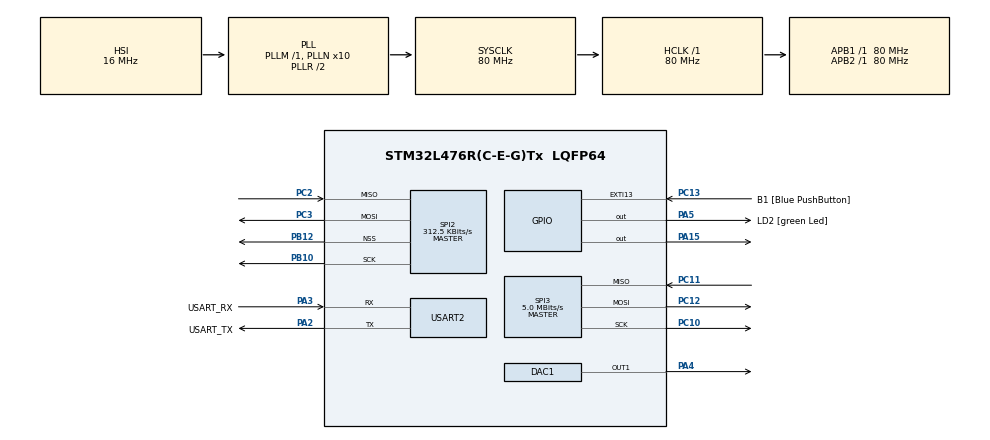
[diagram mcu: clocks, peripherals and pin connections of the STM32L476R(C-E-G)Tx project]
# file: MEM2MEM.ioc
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DAC1.DAC_Trigger-DAC_OUT1=DAC_TRIGGER_T2_TRGO
Dma.DAC_CH1.0.Direction=DMA_MEMORY_TO_PERIPH
Dma.DAC_CH1.0.Instance=DMA1_Channel3
Dma.DAC_CH1.0.MemDataAlignment=DMA_MDATAALIGN_HALFWORD
Dma.DAC_CH1.0.MemInc=DMA_MINC_ENABLE
Dma.DAC_CH1.0.Mode=DMA_NORMAL
Dma.DAC_CH1.0.PeriphDataAlignment=DMA_PDATAALIGN_HALFWORD
Dma.DAC_CH1.0.PeriphInc=DMA_PINC_DISABLE
Dma.DAC_CH1.0.Priority=DMA_PRIORITY_HIGH
Dma.MEMTOMEM.3.Direction=DMA_MEMORY_TO_MEMORY
Dma.MEMTOMEM.3.Instance=DMA1_Channel1
Dma.MEMTOMEM.3.MemDataAlignment=DMA_MDATAALIGN_HALFWORD
Dma.MEMTOMEM.3.MemInc=DMA_MINC_ENABLE
Dma.MEMTOMEM.3.Mode=DMA_NORMAL
Dma.MEMTOMEM.3.PeriphDataAlignment=DMA_PDATAALIGN_HALFWORD
Dma.MEMTOMEM.3.PeriphInc=DMA_PINC_ENABLE
Dma.MEMTOMEM.3.Priority=DMA_PRIORITY_LOW
Dma.Request0=DAC_CH1
Dma.Request1=SPI2_TX
Dma.Request2=SPI3_RX
Dma.Request3=MEMTOMEM
Dma.SPI2_TX.1.Direction=DMA_MEMORY_TO_PERIPH
Dma.SPI2_TX.1.Instance=DMA1_Channel5
Dma.SPI2_TX.1.MemDataAlignment=DMA_MDATAALIGN_HALFWORD
Dma.SPI2_TX.1.MemInc=DMA_MINC_ENABLE
Dma.SPI2_TX.1.Mode=DMA_NORMAL
Dma.SPI2_TX.1.PeriphDataAlignment=DMA_PDATAALIGN_HALFWORD
Dma.SPI2_TX.1.PeriphInc=DMA_PINC_DISABLE
Dma.SPI2_TX.1.Priority=DMA_PRIORITY_LOW
Dma.SPI3_RX.2.Direction=DMA_PERIPH_TO_MEMORY
Dma.SPI3_RX.2.Instance=DMA2_Channel1
Dma.SPI3_RX.2.MemDataAlignment=DMA_MDATAALIGN_BYTE
Dma.SPI3_RX.2.MemInc=DMA_MINC_ENABLE
Dma.SPI3_RX.2.Mode=DMA_CIRCULAR
Dma.SPI3_RX.2.PeriphDataAlignment=DMA_PDATAALIGN_BYTE
Dma.SPI3_RX.2.PeriphInc=DMA_PINC_DISABLE
Dma.SPI3_RX.2.Priority=DMA_PRIORITY_HIGH
Mcu.Family=STM32L4
Mcu.Name=STM32L476R(C-E-G)Tx
Mcu.Package=LQFP64
NVIC.DMA1_Channel1_IRQn=true\:0\:0\:false\:false\:true\:true\:true\:true
NVIC.DMA1_Channel3_IRQn=true\:0\:0\:false\:false\:true\:false\:true\:true
NVIC.DMA1_Channel5_IRQn=true\:0\:0\:false\:false\:true\:false\:true\:true
NVIC.DMA2_Channel1_IRQn=true\:0\:0\:false\:false\:true\:false\:true\:true
NVIC.PriorityGroup=NVIC_PRIORITYGROUP_4
PA13\ (JTMS-SWDIO).GPIO_Label=TMS
PA13\ (JTMS-SWDIO).Mode=Serial_Wire
PA13\ (JTMS-SWDIO).Signal=SYS_JTMS-SWDIO
PA14\ (JTCK-SWCLK).GPIO_Label=TCK
PA14\ (JTCK-SWCLK).Mode=Serial_Wire
PA14\ (JTCK-SWCLK).Signal=SYS_JTCK-SWCLK
PA15\ (JTDI).Signal=GPIO_Output
PA2.GPIO_Label=USART_TX
PA2.GPIO_Mode=GPIO_MODE_AF_PP
PA2.GPIO_PuPd=GPIO_NOPULL
PA2.GPIO_Speed=GPIO_SPEED_FREQ_VERY_HIGH
PA2.Mode=Asynchronous
PA2.Signal=USART2_TX
PA3.GPIO_Label=USART_RX
PA3.GPIO_Mode=GPIO_MODE_AF_PP
PA3.GPIO_PuPd=GPIO_NOPULL
PA3.GPIO_Speed=GPIO_SPEED_FREQ_VERY_HIGH
PA3.Mode=Asynchronous
PA3.Signal=USART2_RX
PA4.Signal=COMP_DAC11_group
PA5.GPIO_Label=LD2 [green Led]
PA5.GPIO_ModeDefaultOutputPP=GPIO_MODE_OUTPUT_PP
PA5.GPIO_PuPd=GPIO_NOPULL
PA5.GPIO_Speed=GPIO_SPEED_FREQ_LOW
PA5.Signal=GPIO_Output
PB10.Mode=Full_Duplex_Master
PB10.Signal=SPI2_SCK
PB12.Mode=NSS_Signal_Hard_Output
PB12.Signal=SPI2_NSS
PB3\ (JTDO-TRACESWO).GPIO_Label=SWO
PB3\ (JTDO-TRACESWO).Signal=SYS_JTDO-SWO
PC10.Mode=Full_Duplex_Master
PC10.Signal=SPI3_SCK
PC11.Mode=Full_Duplex_Master
PC11.Signal=SPI3_MISO
PC12.Mode=Full_Duplex_Master
PC12.Signal=SPI3_MOSI
PC13.GPIO_Label=B1 [Blue PushButton]
PC13.GPIO_ModeDefaultEXTI=GPIO_MODE_IT_FALLING
PC13.GPIO_PuPd=GPIO_NOPULL
PC13.Signal=GPXTI13
PC14-OSC32_IN\ (PC14).Mode=LSE-External-Oscillator
PC14-OSC32_IN\ (PC14).Signal=RCC_OSC32_IN
PC15-OSC32_OUT\ (PC15).Mode=LSE-External-Oscillator
PC15-OSC32_OUT\ (PC15).Signal=RCC_OSC32_OUT
PC2.Mode=Full_Duplex_Master
PC2.Signal=SPI2_MISO
PC3.Mode=Full_Duplex_Master
PC3.Signal=SPI2_MOSI
PH0-OSC_IN\ (PH0).Signal=RCC_OSC_IN
PH1-OSC_OUT\ (PH1).Signal=RCC_OSC_OUT
ProjectManager.HeapSize=0x200
ProjectManager.StackSize=0x400
ProjectManager.TargetToolchain=STM32CubeIDE
RCC.ADCFreq_Value=64000000
RCC.AHBFreq_Value=80000000
RCC.APB1Freq_Value=80000000
RCC.APB1TimFreq_Value=80000000
RCC.APB2Freq_Value=80000000
RCC.APB2TimFreq_Value=80000000
RCC.CortexFreq_Value=80000000
RCC.HCLKFreq_Value=80000000
RCC.HSE_VALUE=8000000
RCC.HSI_VALUE=16000000
RCC.MSI_VALUE=4000000
RCC.PLLN=10
RCC.PLLSourceVirtual=RCC_PLLSOURCE_HSI
RCC.PREFETCH_ENABLE=1
RCC.SYSCLKFreq_VALUE=80000000
RCC.SYSCLKSource=RCC_SYSCLKSOURCE_PLLCLK
RCC.USBFreq_Value=64000000
RCC.VCOOutputFreq_Value=160000000
SH.COMP_DAC11_group.0=DAC1_OUT1,DAC_OUT1
SPI2.BaudRatePrescaler=SPI_BAUDRATEPRESCALER_256
SPI2.CalculateBaudRate=312.5 KBits/s
SPI2.DataSize=SPI_DATASIZE_8BIT
SPI2.Direction=SPI_DIRECTION_2LINES
SPI2.Mode=SPI_MODE_MASTER
SPI2.VirtualNSS=VM_NSSHARD
SPI2.VirtualType=VM_MASTER
SPI3.BaudRatePrescaler=SPI_BAUDRATEPRESCALER_16
SPI3.CLKPhase=SPI_PHASE_2EDGE
SPI3.CLKPolarity=SPI_POLARITY_HIGH
SPI3.CalculateBaudRate=5.0 MBits/s
SPI3.Direction=SPI_DIRECTION_2LINES
SPI3.Mode=SPI_MODE_MASTER
SPI3.VirtualType=VM_MASTER
TIM2.Channel-Output\ Compare1\ No\ Output=TIM_CHANNEL_1
USART2.VirtualMode-Asynchronous=VM_ASYNC
VP_FATFS_VS_Generic.Mode=User_defined
VP_TIM2_VS_no_output1.Mode=Output Compare1 No Output
board=NUCLEO-L476RG

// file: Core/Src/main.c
/* USER CODE BEGIN Header */
/**
  ******************************************************************************
  * @file           : main.c
  * @brief          : Main program body
  ******************************************************************************
  * @attention
  *
  * Copyright (c) 2025 STMicroelectronics.
  * All rights reserved.
  *
  * This software is licensed under terms that can be found in the LICENSE file
  * in the root directory of this software component.
  * If no LICENSE file comes with this software, it is provided AS-IS.
  *
  ******************************************************************************
  */
/* USER CODE END Header */
#include "main.h"
#include "dac.h"
#include "dma.h"
#include "fatfs.h"
#include "spi.h"
#include "tim.h"
#include "usart.h"
#include "gpio.h"

/* USER CODE BEGIN PD */
#define BUFFSIZE 20000
/* USER CODE END PD */

/* USER CODE BEGIN PV */
uint32_t time, time2;
uint32_t difftime, difftime2;
char finish = 0;
/* USER CODE END PV */

void SystemClock_Config(void);
/* USER CODE BEGIN PFP */

void HAL_DMA_Callback(DMA_HandleTypeDef *hdma){
	if(hdma -> Instance == DMA1_Channel1){
		difftime = TIM2->CNT - time;
		finish = 1;
	}
}

/* USER CODE END PFP */

/* USER CODE BEGIN 0 */
int count = 0;
uint16_t buffer0[BUFFSIZE] = {0};
uint16_t buffer1[BUFFSIZE] = {0};
/* USER CODE END 0 */

int main(void)
{

  /* USER CODE BEGIN 1 */

	for(int i = 0; i < BUFFSIZE; i++){
		buffer0[i] = 0xff;
	}
  /* USER CODE END 1 */

  /* MCU Configuration--------------------------------------------------------*/

  /* Reset of all peripherals, Initializes the Flash interface and the Systick. */
  HAL_Init();

  /* Configure the system clock */
  SystemClock_Config();

  /* Initialize all configured peripherals */
  MX_GPIO_Init();
  MX_DMA_Init();
  MX_USART2_UART_Init();
  MX_DAC1_Init();
  MX_SPI2_Init();
  MX_SPI3_Init();
  MX_FATFS_Init();
  MX_TIM2_Init();
  /* USER CODE BEGIN 2 */

  HAL_TIM_Base_Start(&htim2);
  hdma_memtomem_dma1_channel1.XferCpltCallback = &HAL_DMA_Callback;
  time = TIM2->CNT;
  HAL_DMA_Start_IT(&hdma_memtomem_dma1_channel1, buffer0, buffer1, BUFFSIZE);

  /* USER CODE END 2 */

  /* Infinite loop */
  while (1)
  {

    /* USER CODE BEGIN 3 */
	  if(finish){
		  time2 = TIM2->CNT;
        memset(buffer0, 0, sizeof(buffer0));
        memcpy(buffer1, buffer0, sizeof(buffer0));
      difftime2 = TIM2->CNT - time2;
      __NOP();
	  }
	  HAL_Delay(1);
  }
  /* USER CODE END 3 */
}

void SystemClock_Config(void)
{
  RCC_OscInitTypeDef RCC_OscInitStruct = {0};
  RCC_ClkInitTypeDef RCC_ClkInitStruct = {0};

  /** Configure the main internal regulator output voltage
  */
  if (HAL_PWREx_ControlVoltageScaling(PWR_REGULATOR_VOLTAGE_SCALE1) != HAL_OK)
  {
    Error_Handler();
  }

  /** Initializes the RCC Oscillators according to the specified parameters
  * in the RCC_OscInitTypeDef structure.
  */
  RCC_OscInitStruct.OscillatorType = RCC_OSCILLATORTYPE_HSI;
  RCC_OscInitStruct.HSIState = RCC_HSI_ON;
  RCC_OscInitStruct.HSICalibrationValue = RCC_HSICALIBRATION_DEFAULT;
  RCC_OscInitStruct.PLL.PLLState = RCC_PLL_ON;
  RCC_OscInitStruct.PLL.PLLSource = RCC_PLLSOURCE_HSI;
  RCC_OscInitStruct.PLL.PLLM = 1;
  RCC_OscInitStruct.PLL.PLLN = 10;
  RCC_OscInitStruct.PLL.PLLP = RCC_PLLP_DIV7;
  RCC_OscInitStruct.PLL.PLLQ = RCC_PLLQ_DIV2;
  RCC_OscInitStruct.PLL.PLLR = RCC_PLLR_DIV2;
  if (HAL_RCC_OscConfig(&RCC_OscInitStruct) != HAL_OK)
  {
    Error_Handler();
  }

  /** Initializes the CPU, AHB and APB buses clocks
  */
  RCC_ClkInitStruct.ClockType = RCC_CLOCKTYPE_HCLK|RCC_CLOCKTYPE_SYSCLK
                              |RCC_CLOCKTYPE_PCLK1|RCC_CLOCKTYPE_PCLK2;
  RCC_ClkInitStruct.SYSCLKSource = RCC_SYSCLKSOURCE_PLLCLK;
  RCC_ClkInitStruct.AHBCLKDivider = RCC_SYSCLK_DIV1;
  RCC_ClkInitStruct.APB1CLKDivider = RCC_HCLK_DIV1;
  RCC_ClkInitStruct.APB2CLKDivider = RCC_HCLK_DIV1;

  if (HAL_RCC_ClockConfig(&RCC_ClkInitStruct, FLASH_LATENCY_4) != HAL_OK)
  {
    Error_Handler();
  }
}

void Error_Handler(void)
{
  __disable_irq();
  while (1)
  {
  }
}
